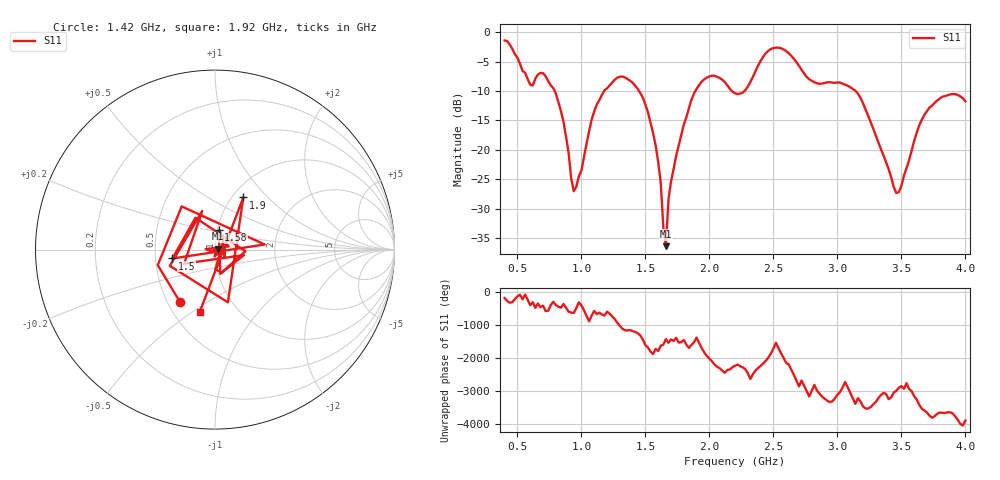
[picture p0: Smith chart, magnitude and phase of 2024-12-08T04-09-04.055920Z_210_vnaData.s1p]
!Created with skrf (http://scikit-rf.org).
# Hz S RI R 50.0
!freq ReS11 ImS11
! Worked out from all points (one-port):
!   181 points, 400 MHz to 4 GHz, reference 50 ohm
!   lowest |S11| = -36.4 dB at 1.66 GHz (marker M1), VSWR 1.03, Z = 51.5 + j0.493 ohm
!   |S11| at or under -10 dB: 791.3 MHz to 1.177 GHz (385.4 MHz wide, 39.2 % of centre); 1.451 GHz to 1.89 GHz (439.5 MHz wide, 26.3 % of centre); 3.143 GHz to end of sweep (the widest 3 of 4)
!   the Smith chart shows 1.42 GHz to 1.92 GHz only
!   S11 on the Smith chart (normalised r, x): 1.42 GHz: 0.58, -0.38; 1.5 GHz: 0.61, -0.06; 1.58 GHz: 1.02, +0.22; 1.9 GHz: 1.12, +0.73; 1.92 GHz: 0.67, -0.53
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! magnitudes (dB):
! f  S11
! 400 MHz  -1.4
! 600 MHz  -8.9
! 720 MHz  -7.5
! 860 MHz  -15.2
! 940 MHz  -27.0
! 1.12 GHz  -12.3
! 1.3 GHz  -7.6
! 1.42 GHz  -9.1
! 1.5 GHz  -12.3
! 1.58 GHz  -19.2
! 1.62 GHz  -25.6
! 1.64 GHz  -33.2
! 1.66 GHz  -36.4
! 1.68 GHz  -28.5
! 1.76 GHz  -19.3
! 1.9 GHz  -9.6
! 1.92 GHz  -8.9
! 2.04 GHz  -7.4
! 2.2 GHz  -10.4
! 2.48 GHz  -2.8
! 2.66 GHz  -4.5
! 2.82 GHz  -8.5
! 3.1 GHz  -9.3
! 3.2 GHz  -12.1
! 3.46 GHz  -27.4
! 3.56 GHz  -21.8
! 3.72 GHz  -12.8
! 4 GHz  -11.7
